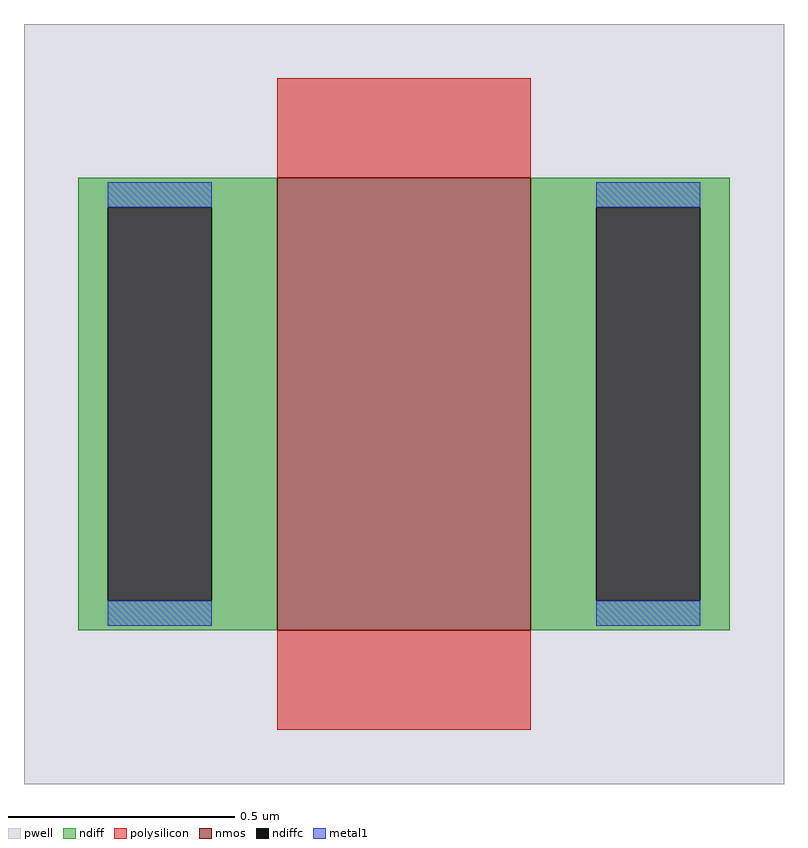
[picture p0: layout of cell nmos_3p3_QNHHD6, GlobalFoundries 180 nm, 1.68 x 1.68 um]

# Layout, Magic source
magic
tech gf180mcuC
magscale 1 10
<< pwell >>
rect -168 -168 168 168
<< nmos >>
rect -56 -100 56 100
<< ndiff >>
rect -144 87 -56 100
rect -144 -87 -131 87
rect -85 -87 -56 87
rect -144 -100 -56 -87
rect 56 87 144 100
rect 56 -87 85 87
rect 131 -87 144 87
rect 56 -100 144 -87
<< ndiffc >>
rect -131 -87 -85 87
rect 85 -87 131 87
<< polysilicon >>
rect -56 100 56 144
rect -56 -144 56 -100
<< metal1 >>
rect -131 87 -85 98
rect -131 -98 -85 -87
rect 85 87 131 98
rect 85 -98 131 -87
<< properties >>
string gencell nmos_3p3
string library gf180mcu
string parameters w 1 l 0.56 m 1 nf 1 diffcov 100 polycov 100 guard 0 glc 0 grc 0 gtc 0 gbc 0 tbcov 100 rlcov 100 topc 0 botc 0 poverlap 0 doverlap 1 lmin 0.28 wmin 0.22 full_metal 0 compatible {nmos_3p3 nmos_6p0 nmos_6p0_nat}
<< end >>
